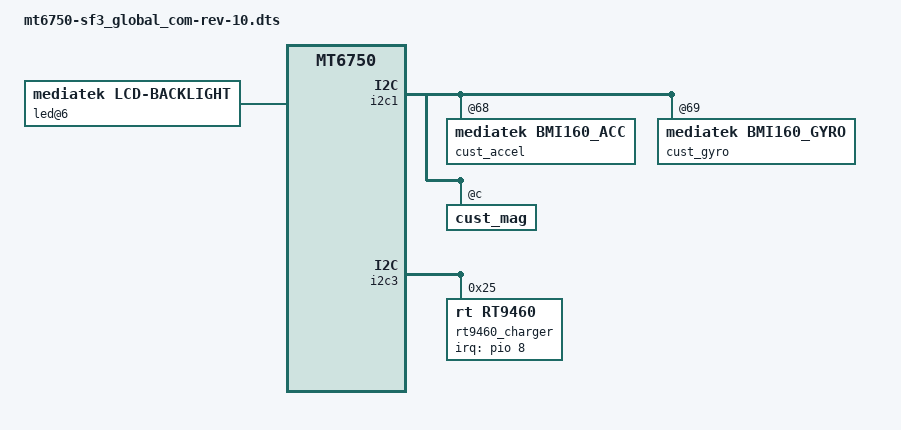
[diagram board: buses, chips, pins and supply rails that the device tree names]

/dts-v1/;

#include "../muse6750_hdk_n_lge.dtsi"

#include "../mt6750-common.dtsi"
#include "mt6750-sf3_global_com-power.dtsi"
#include "mt6750-sf3_global_com-panel.dtsi"
#include "mt6750-sf3_global_com-touch.dtsi"
#include "mt6750-sf3_global_com-sensor.dtsi"
#include "mt6750-sf3_global_com-fingerprint.dtsi"
#include "mt6750-sf3_global_com-misc.dtsi"
#include "mt6750-sf3_global_com-sound.dtsi"
#include "mt6750-sf3_global_com-nfc.dtsi"
#include "mt6750-sf3_global_com-common.dtsi"
#include "mt6750-sf3_global_com-usb.dtsi"
#include "mt6750-sf3_global_com-camera.dtsi"

/ {
	/*
	typedef enum {
		HW_REV_0 = 0,
		HW_REV_0_1,
		HW_REV_A,
		HW_REV_B,
		HW_REV_C,
		HW_REV_1_0,
		HW_REV_1_1,
		HW_REV_MAX
	} rev_type;
	*/
	lge,pcb_revision = <0x5>; // rev_10
};

&i2c1 {
	cust_accel@68 {
		compatible = "mediatek,bmi160_acc";
		direction = <5>;
	};

	cust_gyro@69 {
		compatible = "mediatek,bmi160_gyro";
		direction = <5>;
	};

	cust_mag@c {
		direction = <6>;
	};

	/delete-node/ rt9460_charger@25;
};

&i2c3 {
	rt9460_charger@25 {
		status = "okay";
		compatible = "rt,rt9460";
		reg = <0x25>;
		interrupt-parent = <&eintc>;
		interrupts = <8 0x2002>;
		debounce = <8 0>;
		rt,irq_gpio = <&pio 8 0x2002>;
		rt,te_en;
		rt,iinlm_sel = <2>;
		rt,iprec = <2>;
		rt,ieoc = <2>;
		rt,deadbat = <8>;
		rt,vprec = <2>;
		rt,voreg = <35>;
		rt,icc = <3125>;
		rt,aicr = <1200>;
		rt,chg_volt = <4400>;
		rt,bst_volt = <5000>;
	};
};

//&i2c3 {
//	cust_mag@c {
//		direction = <6>;
//	};
//};

/ {
	led@6 {
		compatible = "mediatek,lcd-backlight";
		led_mode = <5>;
		data = <1>;
		pwm_config = <0 0 0 0 0>;
	};
};

